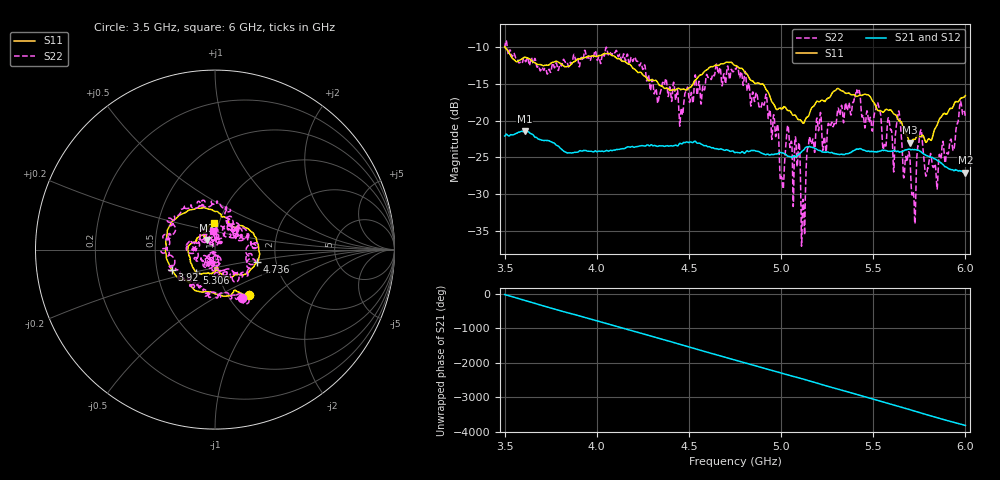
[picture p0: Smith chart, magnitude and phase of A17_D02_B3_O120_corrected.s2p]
! Created with skrf 1.9.0 (http://scikit-rf.org).
# Hz S RI R 50.0
!freq ReS11 ImS11 ReS21 ImS21 ReS12 ImS12 ReS22 ImS22
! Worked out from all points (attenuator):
!   1601 points, 3.5 GHz to 6 GHz, reference 50 ohm
!   highest |S21| = -21.44 dB at 3.609 GHz (marker M1); lowest = -27.1 dB at 6 GHz (marker M2)
!   lowest |S11| = -23.0 dB at 5.7 GHz (marker M3), VSWR 1.15, Z = 45.4 + j4.95 ohm
!   |S11| at or under -10 dB: 3.501 GHz to end of sweep
!   |S22| runs from -37.1 to -9.1 dB; largest |S21 - S12| = 0.00088
!   S11 on the Smith chart (normalised r, x): 3.5 GHz: 1.25, -0.71; 3.92 GHz: 0.60, -0.15; 4.736 GHz: 1.60, -0.23; 5.306 GHz: 0.79, -0.21; 6 GHz: 0.95, +0.29
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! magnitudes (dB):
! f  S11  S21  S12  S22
! 3.5 GHz  -9.9  -22.1  -22.1  -10.2
! 3.609 GHz  -11.4  -21.4  -21.5  -11.7
! 3.917 GHz  -11.6  -24.1  -24.1  -11.4
! 3.92 GHz  -11.5  -24.1  -24.1  -11.6
! 4.334 GHz  -15.0  -23.5  -23.4  -17.3
! 4.736 GHz  -12.2  -24.1  -24.2  -13.3
! 4.75 GHz  -12.5  -24.4  -24.3  -12.9
! 4.927 GHz  -16.0  -24.5  -24.5  -18.5
! 5.005 GHz  -18.3  -24.4  -24.4  -27.8
! 5.034 GHz  -18.6  -24.8  -24.7  -20.8
! 5.088 GHz  -19.7  -24.8  -24.8  -26.3
! 5.119 GHz  -20.3  -24.1  -24.0  -30.7
! 5.167 GHz  -18.2  -23.6  -23.6  -23.1
! 5.306 GHz  -15.6  -24.6  -24.5  -18.6
! 5.416 GHz  -16.7  -23.9  -23.9  -16.2
! 5.584 GHz  -18.6  -24.2  -24.1  -19.6
! 5.639 GHz  -20.0  -24.2  -24.2  -18.7
! 5.7 GHz  -23.0  -23.9  -23.9  -25.4
! 5.719 GHz  -22.6  -24.0  -23.9  -30.0
! 5.753 GHz  -22.2  -24.2  -24.1  -21.8
! 5.841 GHz  -20.9  -25.3  -25.3  -27.2
! 6 GHz  -16.6  -27.1  -27.0  -19.6
